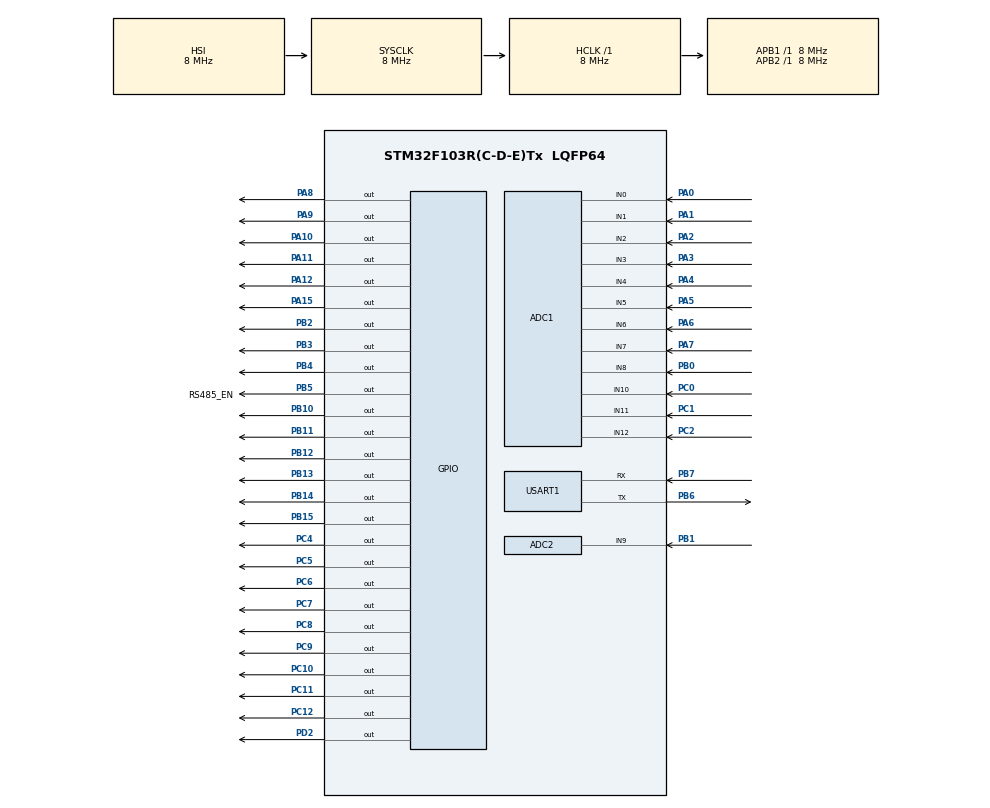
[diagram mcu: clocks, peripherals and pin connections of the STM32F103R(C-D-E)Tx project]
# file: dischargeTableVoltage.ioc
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ADC1.Channel-0\#ChannelRegularConversion=ADC_CHANNEL_10
ADC1.Channel-1\#ChannelRegularConversion=ADC_CHANNEL_11
ADC1.Channel-10\#ChannelRegularConversion=ADC_CHANNEL_7
ADC1.Channel-11\#ChannelRegularConversion=ADC_CHANNEL_8
ADC1.Channel-2\#ChannelRegularConversion=ADC_CHANNEL_12
ADC1.Channel-3\#ChannelRegularConversion=ADC_CHANNEL_0
ADC1.Channel-4\#ChannelRegularConversion=ADC_CHANNEL_1
ADC1.Channel-5\#ChannelRegularConversion=ADC_CHANNEL_2
ADC1.Channel-6\#ChannelRegularConversion=ADC_CHANNEL_3
ADC1.Channel-7\#ChannelRegularConversion=ADC_CHANNEL_4
ADC1.Channel-8\#ChannelRegularConversion=ADC_CHANNEL_5
ADC1.Channel-9\#ChannelRegularConversion=ADC_CHANNEL_6
ADC1.ContinuousConvMode=ENABLE
ADC1.NbrOfConversion=12
ADC1.NbrOfConversionFlag=1
ADC1.Rank-0\#ChannelRegularConversion=1
ADC1.Rank-1\#ChannelRegularConversion=2
ADC1.Rank-10\#ChannelRegularConversion=11
ADC1.Rank-11\#ChannelRegularConversion=12
ADC1.Rank-2\#ChannelRegularConversion=3
ADC1.Rank-3\#ChannelRegularConversion=4
ADC1.Rank-4\#ChannelRegularConversion=5
ADC1.Rank-5\#ChannelRegularConversion=6
ADC1.Rank-6\#ChannelRegularConversion=7
ADC1.Rank-7\#ChannelRegularConversion=8
ADC1.Rank-8\#ChannelRegularConversion=9
ADC1.Rank-9\#ChannelRegularConversion=10
ADC1.SamplingTime-0\#ChannelRegularConversion=ADC_SAMPLETIME_239CYCLES_5
ADC1.SamplingTime-1\#ChannelRegularConversion=ADC_SAMPLETIME_239CYCLES_5
ADC1.SamplingTime-10\#ChannelRegularConversion=ADC_SAMPLETIME_239CYCLES_5
ADC1.SamplingTime-11\#ChannelRegularConversion=ADC_SAMPLETIME_239CYCLES_5
ADC1.SamplingTime-2\#ChannelRegularConversion=ADC_SAMPLETIME_239CYCLES_5
ADC1.SamplingTime-3\#ChannelRegularConversion=ADC_SAMPLETIME_239CYCLES_5
ADC1.SamplingTime-4\#ChannelRegularConversion=ADC_SAMPLETIME_239CYCLES_5
ADC1.SamplingTime-5\#ChannelRegularConversion=ADC_SAMPLETIME_239CYCLES_5
ADC1.SamplingTime-6\#ChannelRegularConversion=ADC_SAMPLETIME_239CYCLES_5
ADC1.SamplingTime-7\#ChannelRegularConversion=ADC_SAMPLETIME_239CYCLES_5
ADC1.SamplingTime-8\#ChannelRegularConversion=ADC_SAMPLETIME_239CYCLES_5
ADC1.SamplingTime-9\#ChannelRegularConversion=ADC_SAMPLETIME_239CYCLES_5
ADC1.master=1
ADC2.Channel-1\#ChannelRegularConversion=ADC_CHANNEL_9
ADC2.NbrOfConversionFlag=1
ADC2.Rank-1\#ChannelRegularConversion=1
ADC2.SamplingTime-1\#ChannelRegularConversion=ADC_SAMPLETIME_239CYCLES_5
Dma.ADC1.0.Direction=DMA_PERIPH_TO_MEMORY
Dma.ADC1.0.Instance=DMA1_Channel1
Dma.ADC1.0.MemDataAlignment=DMA_MDATAALIGN_WORD
Dma.ADC1.0.MemInc=DMA_MINC_ENABLE
Dma.ADC1.0.Mode=DMA_CIRCULAR
Dma.ADC1.0.PeriphDataAlignment=DMA_PDATAALIGN_HALFWORD
Dma.ADC1.0.PeriphInc=DMA_PINC_DISABLE
Dma.ADC1.0.Priority=DMA_PRIORITY_VERY_HIGH
Dma.Request0=ADC1
Dma.Request1=USART1_RX
Dma.Request2=USART1_TX
Dma.USART1_RX.1.Direction=DMA_PERIPH_TO_MEMORY
Dma.USART1_RX.1.Instance=DMA1_Channel5
Dma.USART1_RX.1.MemDataAlignment=DMA_MDATAALIGN_BYTE
Dma.USART1_RX.1.MemInc=DMA_MINC_ENABLE
Dma.USART1_RX.1.Mode=DMA_NORMAL
Dma.USART1_RX.1.PeriphDataAlignment=DMA_PDATAALIGN_BYTE
Dma.USART1_RX.1.PeriphInc=DMA_PINC_DISABLE
Dma.USART1_RX.1.Priority=DMA_PRIORITY_MEDIUM
Dma.USART1_TX.2.Direction=DMA_MEMORY_TO_PERIPH
Dma.USART1_TX.2.Instance=DMA1_Channel4
Dma.USART1_TX.2.MemDataAlignment=DMA_MDATAALIGN_BYTE
Dma.USART1_TX.2.MemInc=DMA_MINC_ENABLE
Dma.USART1_TX.2.Mode=DMA_NORMAL
Dma.USART1_TX.2.PeriphDataAlignment=DMA_PDATAALIGN_BYTE
Dma.USART1_TX.2.PeriphInc=DMA_PINC_DISABLE
Dma.USART1_TX.2.Priority=DMA_PRIORITY_HIGH
Mcu.Family=STM32F1
Mcu.Name=STM32F103R(C-D-E)Tx
Mcu.Package=LQFP64
NVIC.DMA1_Channel1_IRQn=true\:0\:0\:false\:false\:true\:false\:true\:true
NVIC.DMA1_Channel4_IRQn=true\:0\:0\:false\:false\:true\:false\:true\:true
NVIC.DMA1_Channel5_IRQn=true\:0\:0\:false\:false\:true\:false\:true\:true
NVIC.PriorityGroup=NVIC_PRIORITYGROUP_4
PA0-WKUP.Signal=ADCx_IN0
PA1.Signal=ADCx_IN1
PA10.Signal=GPIO_Output
PA11.Signal=GPIO_Output
PA12.Signal=GPIO_Output
PA13.Mode=Serial_Wire
PA13.Signal=SYS_JTMS-SWDIO
PA14.Mode=Serial_Wire
PA14.Signal=SYS_JTCK-SWCLK
PA15.Signal=GPIO_Output
PA2.Signal=ADCx_IN2
PA3.Signal=ADCx_IN3
PA4.Signal=ADCx_IN4
PA5.Signal=ADCx_IN5
PA6.Signal=ADCx_IN6
PA7.Signal=ADCx_IN7
PA8.Signal=GPIO_Output
PA9.Signal=GPIO_Output
PB0.Signal=ADCx_IN8
PB1.Signal=ADCx_IN9
PB10.Signal=GPIO_Output
PB11.Signal=GPIO_Output
PB12.Signal=GPIO_Output
PB13.Signal=GPIO_Output
PB14.Signal=GPIO_Output
PB15.Signal=GPIO_Output
PB2.Signal=GPIO_Output
PB3.Signal=GPIO_Output
PB4.Signal=GPIO_Output
PB5.GPIO_Label=RS485_EN
PB5.Signal=GPIO_Output
PB6.Mode=Asynchronous
PB6.Signal=USART1_TX
PB7.Mode=Asynchronous
PB7.Signal=USART1_RX
PC0.Signal=ADCx_IN10
PC1.Signal=ADCx_IN11
PC10.Signal=GPIO_Output
PC11.Signal=GPIO_Output
PC12.Signal=GPIO_Output
PC2.Signal=ADCx_IN12
PC4.Signal=GPIO_Output
PC5.Signal=GPIO_Output
PC6.Signal=GPIO_Output
PC7.Signal=GPIO_Output
PC8.Signal=GPIO_Output
PC9.Signal=GPIO_Output
PD2.Signal=GPIO_Output
ProjectManager.HeapSize=0x200
ProjectManager.StackSize=0x400
ProjectManager.TargetToolchain=STM32CubeIDE
RCC.AHBFreq_Value=8000000
RCC.APB1Freq_Value=8000000
RCC.APB1TimFreq_Value=8000000
RCC.APB2Freq_Value=8000000
RCC.APB2TimFreq_Value=8000000
RCC.HCLKFreq_Value=8000000
RCC.SYSCLKFreq_VALUE=8000000
RCC.USBFreq_Value=8000000
SH.ADCx_IN0.0=ADC1_IN0,IN0
SH.ADCx_IN1.0=ADC1_IN1,IN1
SH.ADCx_IN10.0=ADC1_IN10,IN10
SH.ADCx_IN11.0=ADC1_IN11,IN11
SH.ADCx_IN12.0=ADC1_IN12,IN12
SH.ADCx_IN2.0=ADC1_IN2,IN2
SH.ADCx_IN3.0=ADC1_IN3,IN3
SH.ADCx_IN4.0=ADC1_IN4,IN4
SH.ADCx_IN5.0=ADC1_IN5,IN5
SH.ADCx_IN6.0=ADC1_IN6,IN6
SH.ADCx_IN7.0=ADC1_IN7,IN7
SH.ADCx_IN8.0=ADC1_IN8,IN8
SH.ADCx_IN9.0=ADC2_IN9,IN9
USART1.VirtualMode=VM_ASYNC
board=custom

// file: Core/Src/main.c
/* USER CODE BEGIN Header */
/**
 ******************************************************************************
 * @file           : main.c
 * @brief          : Main program body
 ******************************************************************************
 * @attention
 *
 * Copyright (c) 2025 STMicroelectronics.
 * All rights reserved.
 *
 * This software is licensed under terms that can be found in the LICENSE file
 * in the root directory of this software component.
 * If no LICENSE file comes with this software, it is provided AS-IS.
 *
 ******************************************************************************
 */
/* USER CODE END Header */
#include "main.h"
#include "adc.h"
#include "dma.h"
#include "usart.h"
#include "gpio.h"

/* USER CODE BEGIN Includes */
#include "discharge.h"
#include "comms.h"
/* USER CODE END Includes */

/* USER CODE BEGIN PV */

uint32_t dischargeLines[20];
uint32_t adcValues[12];

uint8_t conversionComplete = 0;
uint32_t lastTime = 0;

/* USER CODE END PV */

void SystemClock_Config(void);

int main(void)
{

  /* MCU Configuration--------------------------------------------------------*/

  /* Reset of all peripherals, Initializes the Flash interface and the Systick. */
  HAL_Init();

  /* Configure the system clock */
  SystemClock_Config();

  /* Initialize all configured peripherals */
  MX_GPIO_Init();
  MX_DMA_Init();
  MX_ADC1_Init();
  MX_ADC2_Init();
  MX_USART1_UART_Init();
  /* USER CODE BEGIN 2 */
  HAL_ADC_Start_DMA(&hadc1, adcValues, 12);
  initOutputs();
  initComms();
  lastTime = HAL_GetTick();

  uint8_t switchedToRelays = 0;
  uint8_t lowVoltage = 0;
  /* USER CODE END 2 */

  /* Infinite loop */
  /* USER CODE BEGIN WHILE */
	while (1) {

		if(conversionComplete){
			conversionComplete = 0;
			//Read the voltages from the mux and pass them into the main discharge array.
			for (int i = 0; i <= 7; i++)
				dischargeLines[i] = readMuxChannel(i, &hadc2);
			//Take the votlages from the adc dma and put them into the main discharge array.
			for (int i = 8; i <= 19; i++)
				dischargeLines[i] = adcValues[i - 8];
			lowVoltage = checkVoltages(dischargeLines);
			controlDischarge(dischargeLines);
		}
		//Transmit every 5 seconds if voltage is low.
		if(HAL_GetTick() - lastTime > 5000)
		{
			lastTime = HAL_GetTick();
			if(lowVoltage)
			{
				commsTransmit();
			}
		}
		//If the voltage is low, switch to relays.
		if(lowVoltage == 1 && switchedToRelays == 0)
		{
			relaysOn();
			switchedToRelays = 1;
		}
		//If I got a signal from another board and have not switched on the relays yet.
		if(gotSignal() == 1 && switchedToRelays == 0)
		{
			relaysOn();
			switchedToRelays = 1;
		}

    /* USER CODE END WHILE */

	}
}

void SystemClock_Config(void)
{
  RCC_OscInitTypeDef RCC_OscInitStruct = {0};
  RCC_ClkInitTypeDef RCC_ClkInitStruct = {0};
  RCC_PeriphCLKInitTypeDef PeriphClkInit = {0};

  /** Initializes the RCC Oscillators according to the specified parameters
  * in the RCC_OscInitTypeDef structure.
  */
  RCC_OscInitStruct.OscillatorType = RCC_OSCILLATORTYPE_HSI;
  RCC_OscInitStruct.HSIState = RCC_HSI_ON;
  RCC_OscInitStruct.HSICalibrationValue = RCC_HSICALIBRATION_DEFAULT;
  RCC_OscInitStruct.PLL.PLLState = RCC_PLL_NONE;
  if (HAL_RCC_OscConfig(&RCC_OscInitStruct) != HAL_OK)
  {
    Error_Handler();
  }

  /** Initializes the CPU, AHB and APB buses clocks
  */
  RCC_ClkInitStruct.ClockType = RCC_CLOCKTYPE_HCLK|RCC_CLOCKTYPE_SYSCLK
                              |RCC_CLOCKTYPE_PCLK1|RCC_CLOCKTYPE_PCLK2;
  RCC_ClkInitStruct.SYSCLKSource = RCC_SYSCLKSOURCE_HSI;
  RCC_ClkInitStruct.AHBCLKDivider = RCC_SYSCLK_DIV1;
  RCC_ClkInitStruct.APB1CLKDivider = RCC_HCLK_DIV1;
  RCC_ClkInitStruct.APB2CLKDivider = RCC_HCLK_DIV1;

  if (HAL_RCC_ClockConfig(&RCC_ClkInitStruct, FLASH_LATENCY_0) != HAL_OK)
  {
    Error_Handler();
  }
  PeriphClkInit.PeriphClockSelection = RCC_PERIPHCLK_ADC;
  PeriphClkInit.AdcClockSelection = RCC_ADCPCLK2_DIV2;
  if (HAL_RCCEx_PeriphCLKConfig(&PeriphClkInit) != HAL_OK)
  {
    Error_Handler();
  }
}

/* USER CODE BEGIN 4 */

void HAL_ADC_ConvCpltCallback(ADC_HandleTypeDef *hadc) {
	if (hadc->Instance == ADC1) {
		conversionComplete = 1;
	}
}

/* USER CODE END 4 */

void Error_Handler(void)
{
	__disable_irq();
	while (1) {
	}
}
